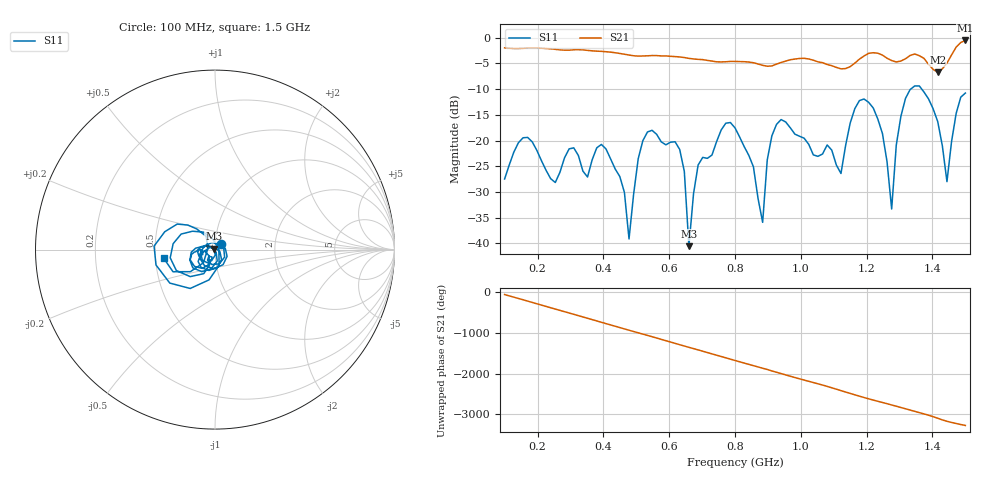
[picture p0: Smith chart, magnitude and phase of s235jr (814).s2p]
! NanoVNA-App
! Date: 2025-09-25 15:10:30
! Start: 100MHz Stop: 1,5GHz Points: 101
! S-Parameter data: F S11 S21 S12 S22
# Hz S RI R 50
!  Frequency  S11_Real  S11_Imag  S21_Real  S21_Imag  S12_Real  S12_Imag  S22_Real  S22_Imag
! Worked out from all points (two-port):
!   101 points, 100 MHz to 1.5 GHz, reference 50 ohm
!   highest |S21| = -0.53 dB at 1.5 GHz (marker M1); lowest = -6.7 dB at 1.416 GHz (marker M2)
!   |S21| within 3 dB of the highest: start of sweep to 497.4 MHz; 1.192 GHz to 1.251 GHz (58.88 MHz wide, 4.82 % of centre) (the widest 2 of 5)
!   lowest |S11| = -40.5 dB at 660 MHz (marker M3), VSWR 1.02, Z = 49.2 + j0.552 ohm
!   |S11| at or under -10 dB: start of sweep to 1.334 GHz; 1.368 GHz to end of sweep
!   S12 and S22 are empty: the file has one direction only
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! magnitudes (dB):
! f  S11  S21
! 100 MHz  -27.5  -2.0
! 156 MHz  -19.5  -2.1
! 338 MHz  -25.9  -2.4
! 408 MHz  -21.6  -2.7
! 478 MHz  -39.1  -3.4
! 520 MHz  -20.0  -3.5
! 576 MHz  -20.3  -3.5
! 632 MHz  -21.7  -3.7
! 660 MHz  -40.5  -4.0
! 688 MHz  -24.7  -4.2
! 800 MHz  -17.5  -4.6
! 884 MHz  -35.9  -5.4
! 926 MHz  -16.9  -5.1
! 1.038 GHz  -22.8  -4.4
! 1.122 GHz  -26.4  -6.0
! 1.192 GHz  -11.9  -3.5
! 1.248 GHz  -18.6  -3.4
! 1.276 GHz  -33.3  -4.4
! 1.332 GHz  -10.1  -3.4
! 1.416 GHz  -16.3  -6.7
! 1.444 GHz  -28.0  -4.9
! 1.5 GHz  -10.8  -0.5
